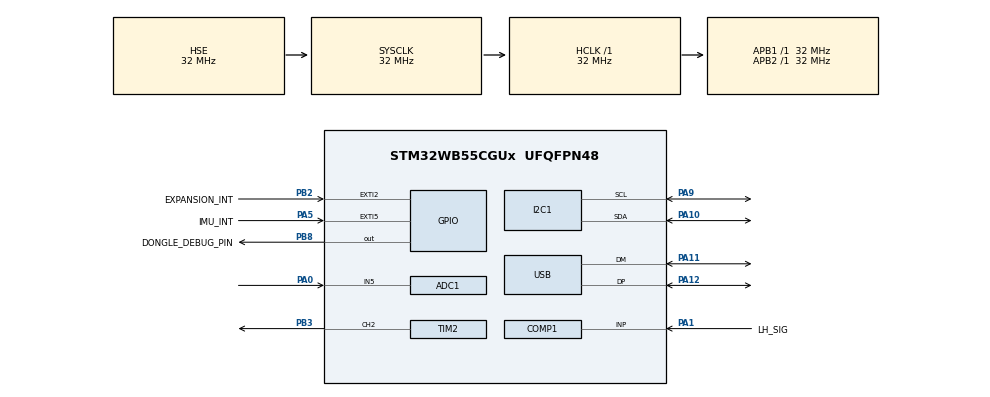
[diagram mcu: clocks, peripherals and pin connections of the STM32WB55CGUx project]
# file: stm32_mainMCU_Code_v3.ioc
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ADC1.Channel-0\#ChannelRegularConversion=ADC_CHANNEL_5
ADC1.ClockPrescaler=ADC_CLOCK_ASYNC_DIV32
ADC1.ContinuousConvMode=DISABLE
ADC1.DMAContinuousRequests=ENABLE
ADC1.EnableInjectedConversion=DISABLE
ADC1.ExternalTrigConv=ADC_EXTERNALTRIG_T2_TRGO
ADC1.NbrOfConversion=1
ADC1.NbrOfConversionFlag=1
ADC1.OffsetNumber-0\#ChannelRegularConversion=ADC_OFFSET_NONE
ADC1.Rank-0\#ChannelRegularConversion=1
ADC1.Resolution=ADC_RESOLUTION_8B
ADC1.SamplingTime-0\#ChannelRegularConversion=ADC_SAMPLETIME_247CYCLES_5
ADC1.master=1
COMP1.TriggerMode=COMP_TRIGGERMODE_IT_RISING_FALLING
Dma.ADC1.0.Direction=DMA_PERIPH_TO_MEMORY
Dma.ADC1.0.EventEnable=DISABLE
Dma.ADC1.0.Instance=DMA1_Channel1
Dma.ADC1.0.MemDataAlignment=DMA_MDATAALIGN_BYTE
Dma.ADC1.0.MemInc=DMA_MINC_ENABLE
Dma.ADC1.0.Mode=DMA_CIRCULAR
Dma.ADC1.0.PeriphDataAlignment=DMA_PDATAALIGN_BYTE
Dma.ADC1.0.PeriphInc=DMA_PINC_DISABLE
Dma.ADC1.0.Polarity=HAL_DMAMUX_REQ_GEN_RISING
Dma.ADC1.0.Priority=DMA_PRIORITY_LOW
Dma.ADC1.0.RequestNumber=1
Dma.ADC1.0.SignalID=NONE
Dma.ADC1.0.SyncEnable=DISABLE
Dma.ADC1.0.SyncPolarity=HAL_DMAMUX_SYNC_NO_EVENT
Dma.ADC1.0.SyncRequestNumber=1
Dma.ADC1.0.SyncSignalID=NONE
Dma.Request0=ADC1
FREERTOS.BinarySemaphores01=messageI2C_Lock,Dynamic,NULL;locNotify,Dynamic,NULL;locComplete,Dynamic,NULL;lightingLabDemoEnd,Dynamic,NULL
FREERTOS.Queues01=blinkMsgQueue,10,108,1,Dynamic,NULL,NULL;lightsSimpleQueue,3,4,1,Dynamic,NULL,NULL;togLoggingQueue,4,6,1,Dynamic,NULL,NULL;interProcessorMsgQueue,10,24,1,Dynamic,NULL,NULL;inertialSensingQueue,10,40,1,Dynamic,NULL,NULL;activitySampleQueue,10,16,1,Dynamic,NULL,NULL;rotationSampleQueue,3,24,1,Dynamic,NULL,NULL;pulseQueue,10,6,1,Dynamic,NULL,NULL;viveQueue,10,24,1,Dynamic,NULL,NULL;statusQueue,1,uint32_t,0,Dynamic,NULL,NULL;msgPasssingUSB_Queue,5,11,1,Dynamic,NULL,NULL
FREERTOS.Tasks01=defaultTask,24,512,DefaultTask,As weak,NULL,Dynamic,NULL,NULL;frontLightsTask,24,512,ThreadFrontLightsTask,As external,NULL,Dynamic,NULL,NULL;masterTask,24,512,MasterThreadTask,As external,NULL,Dynamic,NULL,NULL;inertialTask,24,1024,InertialSensingTask,As external,NULL,Dynamic,NULL,NULL;pulseTask,24,512,PulseHandlerTask,As external,NULL,Dynamic,NULL,NULL;interProcTask,24,512,InterProcessorTask,As external,NULL,Dynamic,NULL,NULL;blinkTask,24,512,BlinkTask,As external,NULL,Dynamic,NULL,NULL;msgPassingUSB_T,24,512,msgPassingUSB,As weak,NULL,Dynamic,NULL,NULL
FREERTOS.Timers01=viveTimer,get3D_location,osTimerPeriodic,As external,&viveStateVar,Dynamic,NULL;watchDogTimer,watchDogReset,osTimerPeriodic,Default,NULL,Dynamic,NULL
FREERTOS.configCHECK_FOR_STACK_OVERFLOW=1
FREERTOS.configGENERATE_RUN_TIME_STATS=1
FREERTOS.configMINIMAL_STACK_SIZE=512
FREERTOS.configQUEUE_REGISTRY_SIZE=12
FREERTOS.configRECORD_STACK_HIGH_ADDRESS=1
FREERTOS.configTOTAL_HEAP_SIZE=150000
FREERTOS.configUSE_MALLOC_FAILED_HOOK=1
FREERTOS.configUSE_TICKLESS_IDLE=2
FREERTOS.configUSE_TICK_HOOK=1
I2C1.I2C_Fall_Time=200
I2C1.I2C_Rise_Time=200
I2C1.Timing=0x00E27CAE
Mcu.Family=STM32WB
Mcu.Name=STM32WB55CGUx
Mcu.Package=UFQFPN48
NVIC.COMP_IRQn=true\:5\:0\:false\:false\:true\:true\:false\:true
NVIC.DMA1_Channel1_IRQn=true\:5\:0\:false\:false\:true\:true\:false\:true
NVIC.EXTI2_IRQn=true\:5\:0\:false\:false\:true\:true\:true\:true
NVIC.EXTI9_5_IRQn=true\:5\:0\:false\:false\:true\:true\:true\:true
NVIC.HSEM_IRQn=true\:5\:0\:false\:false\:true\:true\:false\:true
NVIC.I2C1_EV_IRQn=true\:5\:0\:false\:false\:true\:true\:true\:true
NVIC.PriorityGroup=NVIC_PRIORITYGROUP_4
NVIC.TIM1_UP_TIM16_IRQn=true\:0\:0\:false\:false\:true\:false\:false\:true
NVIC.TIM2_IRQn=true\:5\:0\:false\:false\:true\:true\:true\:true
NVIC.TimeBase=TIM1_UP_TIM16_IRQn
NVIC.TimeBaseIP=TIM1
NVIC.USB_LP_IRQn=true\:5\:0\:false\:false\:true\:true\:false\:true
OSC_IN.Mode=HSE-External-Oscillator
OSC_IN.Signal=RCC_OSC_IN
OSC_OUT.Mode=HSE-External-Oscillator
OSC_OUT.Signal=RCC_OSC_OUT
PA0.Signal=ADCx_IN5
PA1.GPIO_Label=LH_SIG
PA1.Mode=INP
PA1.Signal=COMP1_INP
PA10.GPIO_PuPdOD=GPIO_NOPULL
PA10.Mode=I2C
PA10.Signal=I2C1_SDA
PA11.Mode=Device
PA11.Signal=USB_DM
PA12.Mode=Device
PA12.Signal=USB_DP
PA13.Mode=Serial_Wire
PA13.Signal=SYS_JTMS-SWDIO
PA14.Mode=Serial_Wire
PA14.Signal=SYS_JTCK-SWCLK
PA5.GPIO_Label=IMU_INT
PA5.GPIO_ModeDefaultEXTI=GPIO_MODE_IT_FALLING
PA5.GPIO_PuPd=GPIO_PULLUP
PA5.Signal=GPXTI5
PA9.GPIO_PuPdOD=GPIO_NOPULL
PA9.Mode=I2C
PA9.Signal=I2C1_SCL
PB2.GPIO_Label=EXPANSION_INT
PB2.GPIO_PuPd=GPIO_NOPULL
PB2.Signal=GPXTI2
PB3.Signal=S_TIM2_CH2
PB8.GPIO_Label=DONGLE_DEBUG_PIN
PB8.Signal=GPIO_Output
PC14-OSC32_IN.Mode=LSE-External-Oscillator
PC14-OSC32_IN.Signal=RCC_OSC32_IN
PC15-OSC32_OUT.Mode=LSE-External-Oscillator
PC15-OSC32_OUT.Signal=RCC_OSC32_OUT
ProjectManager.HeapSize=0x200
ProjectManager.StackSize=0x400
ProjectManager.TargetToolchain=STM32CubeIDE
RCC.ADCFreq_Value=48000000
RCC.AHBFreq_Value=32000000
RCC.APB1Freq_Value=32000000
RCC.APB1TimFreq_Value=32000000
RCC.APB2Freq_Value=32000000
RCC.APB2TimFreq_Value=32000000
RCC.APB3Freq_Value=16000000
RCC.CortexFreq_Value=32000000
RCC.HCLKFreq_Value=32000000
RCC.HSE_VALUE=32000000
RCC.HSI48_VALUE=48000000
RCC.HSI_VALUE=16000000
RCC.MSIClockRange=RCC_MSIRANGE_10
RCC.PLLM=RCC_PLLM_DIV2
RCC.PLLSAI1N=6
RCC.PLLSourceVirtual=RCC_PLLSOURCE_HSE
RCC.RTCClockSelection=RCC_RTCCLKSOURCE_LSE
RCC.SYSCLKFreq_VALUE=32000000
RCC.SYSCLKSource=RCC_SYSCLKSOURCE_HSE
RCC.USBFreq_Value=48000000
RCC.VCOOutputFreq_Value=128000000
RF1.Mode=RF1_Activate
RF1.Signal=RF_RF1
SH.ADCx_IN5.0=ADC1_IN5,IN5-Single-Ended
SH.S_TIM2_CH2.0=TIM2_CH2,PWM Generation2 CH2
STM32_WPAN.APPLI_CONFIG_LOG_LEVEL=LOG_LEVEL_NONE
STM32_WPAN.CFG_DEBUGGER_SUPPORTED=0
STM32_WPAN.CFG_FAST_CONN_ADV_INTERVAL_MAX_HEXA=0x0
STM32_WPAN.CFG_FAST_CONN_ADV_INTERVAL_MIN_HEXA=0x0
STM32_WPAN.CFG_HW_USART1_ENABLED=0
STM32_WPAN.CFG_LP_CONN_ADV_INTERVAL_MAX_HEXA=0x0
STM32_WPAN.CFG_LP_CONN_ADV_INTERVAL_MIN_HEXA=0x0
STM32_WPAN.CHANNEL=23
STM32_WPAN.LOCAL_NAME_FORMATTED=,'0'
STM32_WPAN.PANID=1234
STM32_WPAN.THREAD_APPLICATION=FTD
TIM16.Period=65535
TIM16.Prescaler=31
TIM2.AutoReloadPreload=TIM_AUTORELOAD_PRELOAD_ENABLE
TIM2.Channel-Output\ Compare4\ No\ Output=TIM_CHANNEL_4
TIM2.Channel-PWM\ Generation2\ CH2=TIM_CHANNEL_2
TIM2.Channel-PWM\ Generation3\ CH3=TIM_CHANNEL_3
TIM2.CounterMode=TIM_COUNTERMODE_CENTERALIGNED1
TIM2.OC2Preload_PWM=DISABLE
TIM2.OC4Preload=DISABLE
TIM2.OCMode_PWM-PWM\ Generation2\ CH2=TIM_OCMODE_PWM1
TIM2.Period=10
TIM2.Prescaler=1599
TIM2.Pulse-PWM\ Generation2\ CH2=5
TIM2.TIM_MasterOutputTrigger=TIM_TRGO_UPDATE
TIM2.TIM_MasterSlaveMode=TIM_MASTERSLAVEMODE_DISABLE
USB_DEVICE.CLASS_NAME_FS=CDC
USB_DEVICE.VirtualMode=Cdc
USB_DEVICE.VirtualModeFS=Cdc_FS
VP_COMP1_VS_VREFINT12.Mode=VREFINT_12
VP_FREERTOS_VS_CMSIS_V2.Mode=CMSIS_V2
VP_HSEM_VS_HSEM.Mode=HSEM_Activate
VP_RTC_VS_RTC_Activate.Mode=RTC_Enabled
VP_STM32_WPAN_VS_THREAD.Mode=STM32_WPAN_Enabled
VP_SYS_VS_tim1.Mode=TIM1
VP_TIM16_VS_ClockSourceINT.Mode=Enable_Timer
VP_TIM2_VS_ClockSourceINT.Mode=Internal
VP_TIM2_VS_no_output4.Mode=Output Compare4 No Output
VP_TINY_LPM_VS_TINY_LPM.Mode=TINY_LPM_Enabled
VP_USB_DEVICE_VS_USB_DEVICE_CDC_FS.Mode=CDC_FS
board=custom

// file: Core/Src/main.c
/* USER CODE BEGIN Header */
/**
  ******************************************************************************
  * @file           : main.c
  * @brief          : Main program body
  ******************************************************************************
  * @attention
  *
  * <h2><center>&copy; Copyright (c) 2019 STMicroelectronics.
  * All rights reserved.</center></h2>
  *
  * This software component is licensed by ST under Ultimate Liberty license
  * SLA0044, the "License"; You may not use this file except in compliance with
  * the License. You may obtain a copy of the License at:
  *                             www.st.com/SLA0044
  *
  ******************************************************************************
  */
/* USER CODE END Header */
#include "main.h"
#include "cmsis_os.h"
#include "adc.h"
#include "comp.h"
#include "dma.h"
#include "i2c.h"
#include "rf.h"
#include "rtc.h"
#include "app_entry.h"
#include "app_common.h"
#include "tim.h"
#include "usb_device.h"
#include "gpio.h"

/* USER CODE BEGIN Includes */
#include "input.h"
#include "pulse_processor.h"
#include "circular_buffer.h"
#include "tsc.h"
#include "touch_detector.h"
#include "touchsensing.h"
#include "captivate_config.h"
#include "usbd_cdc.h"
#include "usb_device.h"
/* USER CODE END Includes */

void SystemClock_Config(void);
void MX_FREERTOS_Init(void);

int main(void)
{

  /* MCU Configuration--------------------------------------------------------*/

  /* Reset of all peripherals, Initializes the Flash interface and the Systick. */
  HAL_Init();

  /* Configure the system clock */
  SystemClock_Config();

  /* Initialize all configured peripherals */
  MX_GPIO_Init();
  MX_DMA_Init();
  MX_ADC1_Init();
  MX_RTC_Init();
  MX_TIM2_Init();
  MX_RF_Init();
  MX_I2C1_Init();
  MX_COMP1_Init();
  MX_TIM16_Init();
  MX_USB_Device_Init();
  /* USER CODE BEGIN 2 */
  MX_TSC_Init();

#ifndef BORDER_ROUTER_NODE
  USBD_Stop(&hUsbDeviceFS);
#endif

//  HAL_IWDG_Refresh(&hiwdg);

  /* USER CODE END 2 */

  /* Init scheduler */
  osKernelInitialize();  /* Call init function for freertos objects (in freertos.c) */
  MX_FREERTOS_Init();
  /* Start scheduler */
  osKernelStart();

  /* We should never get here as control is now taken by the scheduler */
  /* Infinite loop */
  /* USER CODE BEGIN WHILE */
//	// start  PWM channel for blink LED
//	HAL_TIM_PWM_Start(&htim2, TIM_CHANNEL_2);
//
//	// start timer
//	HAL_TIM_Base_Start(&htim2);

  while (1)
  {

    /* USER CODE END WHILE */

  }
}

void SystemClock_Config(void)
{
  RCC_OscInitTypeDef RCC_OscInitStruct = {0};
  RCC_ClkInitTypeDef RCC_ClkInitStruct = {0};
  RCC_PeriphCLKInitTypeDef PeriphClkInitStruct = {0};

  /** Macro to configure the PLL multiplication factor
  */
  __HAL_RCC_PLL_PLLM_CONFIG(RCC_PLLM_DIV2);
  /** Macro to configure the PLL clock source
  */
  __HAL_RCC_PLL_PLLSOURCE_CONFIG(RCC_PLLSOURCE_HSE);
  /** Configure LSE Drive Capability
  */
  HAL_PWR_EnableBkUpAccess();
  __HAL_RCC_LSEDRIVE_CONFIG(RCC_LSEDRIVE_LOW);
  /** Configure the main internal regulator output voltage
  */
  __HAL_PWR_VOLTAGESCALING_CONFIG(PWR_REGULATOR_VOLTAGE_SCALE1);
  /** Initializes the RCC Oscillators according to the specified parameters
  * in the RCC_OscInitTypeDef structure.
  */
  RCC_OscInitStruct.OscillatorType = RCC_OSCILLATORTYPE_HSI|RCC_OSCILLATORTYPE_HSE
                              |RCC_OSCILLATORTYPE_LSE;
  RCC_OscInitStruct.HSEState = RCC_HSE_ON;
  RCC_OscInitStruct.LSEState = RCC_LSE_ON;
  RCC_OscInitStruct.HSIState = RCC_HSI_ON;
  RCC_OscInitStruct.HSICalibrationValue = RCC_HSICALIBRATION_DEFAULT;
  RCC_OscInitStruct.PLL.PLLState = RCC_PLL_NONE;
  if (HAL_RCC_OscConfig(&RCC_OscInitStruct) != HAL_OK)
  {
    Error_Handler();
  }
  /** Configure the SYSCLKSource, HCLK, PCLK1 and PCLK2 clocks dividers
  */
  RCC_ClkInitStruct.ClockType = RCC_CLOCKTYPE_HCLK4|RCC_CLOCKTYPE_HCLK2
                              |RCC_CLOCKTYPE_HCLK|RCC_CLOCKTYPE_SYSCLK
                              |RCC_CLOCKTYPE_PCLK1|RCC_CLOCKTYPE_PCLK2;
  RCC_ClkInitStruct.SYSCLKSource = RCC_SYSCLKSOURCE_HSE;
  RCC_ClkInitStruct.AHBCLKDivider = RCC_SYSCLK_DIV1;
  RCC_ClkInitStruct.APB1CLKDivider = RCC_HCLK_DIV1;
  RCC_ClkInitStruct.APB2CLKDivider = RCC_HCLK_DIV1;
  RCC_ClkInitStruct.AHBCLK2Divider = RCC_SYSCLK_DIV1;
  RCC_ClkInitStruct.AHBCLK4Divider = RCC_SYSCLK_DIV1;

  if (HAL_RCC_ClockConfig(&RCC_ClkInitStruct, FLASH_LATENCY_1) != HAL_OK)
  {
    Error_Handler();
  }
  /** Initializes the peripherals clocks
  */
  PeriphClkInitStruct.PeriphClockSelection = RCC_PERIPHCLK_SMPS|RCC_PERIPHCLK_RFWAKEUP
                              |RCC_PERIPHCLK_RTC|RCC_PERIPHCLK_I2C1
                              |RCC_PERIPHCLK_USB|RCC_PERIPHCLK_ADC;
  PeriphClkInitStruct.PLLSAI1.PLLN = 6;
  PeriphClkInitStruct.PLLSAI1.PLLP = RCC_PLLP_DIV2;
  PeriphClkInitStruct.PLLSAI1.PLLQ = RCC_PLLQ_DIV2;
  PeriphClkInitStruct.PLLSAI1.PLLR = RCC_PLLR_DIV2;
  PeriphClkInitStruct.PLLSAI1.PLLSAI1ClockOut = RCC_PLLSAI1_USBCLK|RCC_PLLSAI1_ADCCLK;
  PeriphClkInitStruct.I2c1ClockSelection = RCC_I2C1CLKSOURCE_PCLK1;
  PeriphClkInitStruct.UsbClockSelection = RCC_USBCLKSOURCE_PLLSAI1;
  PeriphClkInitStruct.AdcClockSelection = RCC_ADCCLKSOURCE_PLLSAI1;
  PeriphClkInitStruct.RTCClockSelection = RCC_RTCCLKSOURCE_LSE;
  PeriphClkInitStruct.RFWakeUpClockSelection = RCC_RFWKPCLKSOURCE_HSE_DIV1024;
  PeriphClkInitStruct.SmpsClockSelection = RCC_SMPSCLKSOURCE_HSI;
  PeriphClkInitStruct.SmpsDivSelection = RCC_SMPSCLKDIV_RANGE1;
  if (HAL_RCCEx_PeriphCLKConfig(&PeriphClkInitStruct) != HAL_OK)
  {
    Error_Handler();
  }
}

 /**
  * @brief  Period elapsed callback in non blocking mode
  * @note   This function is called  when TIM1 interrupt took place, inside
  * HAL_TIM_IRQHandler(). It makes a direct call to HAL_IncTick() to increment
  * a global variable "uwTick" used as application time base.
  * @param  htim : TIM handle
  * @retval None
  */
void HAL_TIM_PeriodElapsedCallback(TIM_HandleTypeDef *htim)
{
  if (htim->Instance == TIM1) {
    HAL_IncTick();
  }
  /* USER CODE BEGIN Callback 1 */
#ifdef DONGLE_CODE
//  if (htim->Instance == TIM2) {
////	  HAL_GPIO_WritePin(DONGLE_DEBUG_PIN_GPIO_Port, DONGLE_DEBUG_PIN_Pin, GPIO_PIN_SET);
//	  HAL_GPIO_TogglePin(DONGLE_DEBUG_PIN_GPIO_Port, DONGLE_DEBUG_PIN_Pin);
//  }
#endif

//void HAL_TIM_PeriodElapsedHalfCpltCallback(TIM_HandleTypeDef *htim){
//#ifdef DONGLE_CODE
// if (htim->Instance == TIM2) {
//	 HAL_GPIO_WritePin(DONGLE_DEBUG_PIN_GPIO_Port, DONGLE_DEBUG_PIN_Pin, GPIO_PIN_RESET);
//  }
//#endif
//}
  /* USER CODE END Callback 1 */
}

void Error_Handler(void)
{
}

/************************ (C) COPYRIGHT STMicroelectronics *****END OF FILE****/

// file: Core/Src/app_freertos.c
/* USER CODE BEGIN Header */
/**
  ******************************************************************************
  * File Name          : app_freertos.c
  * Description        : Code for freertos applications
  ******************************************************************************
  * @attention
  *
  * <h2><center>&copy; Copyright (c) 2019 STMicroelectronics.
  * All rights reserved.</center></h2>
  *
  * This software component is licensed by ST under Ultimate Liberty license
  * SLA0044, the "License"; You may not use this file except in compliance with
  * the License. You may obtain a copy of the License at:
  *                             www.st.com/SLA0044
  *
  ******************************************************************************
  */
/* USER CODE END Header */

#include "FreeRTOS.h"
#include "task.h"
#include "main.h"
#include "cmsis_os.h"

/* USER CODE BEGIN Includes */
#include "adc.h"
#include "tim.h"
#include "lp5523.h"
#include "blink.h"
#include "app_entry.h"
#include "master_thread.h"
#include "system_settings.h"
#include "inter_processor_comms.h"
#include "inertial_sensing.h"
#include "input.h"
#include "pulse_processor.h"
#include "messages.h"
#include "captivate_config.h"
#include "input.h"
//#include "iwdg.h"
#include "usbd_cdc_if.h"
#include "coap.h"
#include "app_thread.h"
/* USER CODE END Includes */

/* USER CODE BEGIN Variables */

//osThreadId_t blinkTaskHandle;
////osMessageQueueId_t	blinkMsgQueueHandle;
//
//osThreadId_t 		frontLightsTaskHandle;
//osMessageQueueId_t	lightsSimpleQueueHandle;
//
//osMessageQueueId_t	togLoggingQueueHandle;
//osThreadId_t masterTaskHandle;
//
//osSemaphoreId_t messageI2C_LockSem;
//
//osThreadId_t inertialTaskHandle;
//osMessageQueueId_t inertialSensingQueueHandle;
//
//osMessageQueueId_t activitySampleQueueHandle;
//osMessageQueueId_t rotationSampleQueueHandle;
//
//osThreadId_t interProcTaskHandle;
//osMessageQueueId_t	 interProcessorMsgQueueHandle;
//
//osThreadId_t pulseTaskHandle;

//uint8_t temp[2048] = {0};
/* USER CODE END Variables */
/* Definitions for defaultTask */
osThreadId_t defaultTaskHandle;
const osThreadAttr_t defaultTask_attributes = {
  .name = "defaultTask",
  .priority = (osPriority_t) osPriorityNormal,
  .stack_size = 512 * 4
};
/* Definitions for frontLightsTask */
osThreadId_t frontLightsTaskHandle;
const osThreadAttr_t frontLightsTask_attributes = {
  .name = "frontLightsTask",
  .priority = (osPriority_t) osPriorityNormal,
  .stack_size = 512 * 4
};
/* Definitions for masterTask */
osThreadId_t masterTaskHandle;
const osThreadAttr_t masterTask_attributes = {
  .name = "masterTask",
  .priority = (osPriority_t) osPriorityNormal,
  .stack_size = 512 * 4
};
/* Definitions for inertialTask */
osThreadId_t inertialTaskHandle;
const osThreadAttr_t inertialTask_attributes = {
  .name = "inertialTask",
  .priority = (osPriority_t) osPriorityNormal,
  .stack_size = 1024 * 4
};
/* Definitions for pulseTask */
osThreadId_t pulseTaskHandle;
const osThreadAttr_t pulseTask_attributes = {
  .name = "pulseTask",
  .priority = (osPriority_t) osPriorityNormal,
  .stack_size = 512 * 4
};
/* Definitions for interProcTask */
osThreadId_t interProcTaskHandle;
const osThreadAttr_t interProcTask_attributes = {
  .name = "interProcTask",
  .priority = (osPriority_t) osPriorityNormal,
  .stack_size = 512 * 4
};
/* Definitions for blinkTask */
osThreadId_t blinkTaskHandle;
const osThreadAttr_t blinkTask_attributes = {
  .name = "blinkTask",
  .priority = (osPriority_t) osPriorityNormal,
  .stack_size = 512 * 4
};
/* Definitions for msgPassingUSB_T */
osThreadId_t msgPassingUSB_THandle;
const osThreadAttr_t msgPassingUSB_T_attributes = {
  .name = "msgPassingUSB_T",
  .priority = (osPriority_t) osPriorityNormal,
  .stack_size = 512 * 4
};
/* Definitions for blinkMsgQueue */
osMessageQueueId_t blinkMsgQueueHandle;
const osMessageQueueAttr_t blinkMsgQueue_attributes = {
  .name = "blinkMsgQueue"
};
/* Definitions for lightsSimpleQueue */
osMessageQueueId_t lightsSimpleQueueHandle;
const osMessageQueueAttr_t lightsSimpleQueue_attributes = {
  .name = "lightsSimpleQueue"
};
/* Definitions for togLoggingQueue */
osMessageQueueId_t togLoggingQueueHandle;
const osMessageQueueAttr_t togLoggingQueue_attributes = {
  .name = "togLoggingQueue"
};
/* Definitions for interProcessorMsgQueue */
osMessageQueueId_t interProcessorMsgQueueHandle;
const osMessageQueueAttr_t interProcessorMsgQueue_attributes = {
  .name = "interProcessorMsgQueue"
};
/* Definitions for inertialSensingQueue */
osMessageQueueId_t inertialSensingQueueHandle;
const osMessageQueueAttr_t inertialSensingQueue_attributes = {
  .name = "inertialSensingQueue"
};
/* Definitions for activitySampleQueue */
osMessageQueueId_t activitySampleQueueHandle;
const osMessageQueueAttr_t activitySampleQueue_attributes = {
  .name = "activitySampleQueue"
};
/* Definitions for rotationSampleQueue */
osMessageQueueId_t rotationSampleQueueHandle;
const osMessageQueueAttr_t rotationSampleQueue_attributes = {
  .name = "rotationSampleQueue"
};
/* Definitions for pulseQueue */
osMessageQueueId_t pulseQueueHandle;
const osMessageQueueAttr_t pulseQueue_attributes = {
  .name = "pulseQueue"
};
/* Definitions for viveQueue */
osMessageQueueId_t viveQueueHandle;
const osMessageQueueAttr_t viveQueue_attributes = {
  .name = "viveQueue"
};
/* Definitions for statusQueue */
osMessageQueueId_t statusQueueHandle;
const osMessageQueueAttr_t statusQueue_attributes = {
  .name = "statusQueue"
};
/* Definitions for msgPasssingUSB_Queue */
osMessageQueueId_t msgPasssingUSB_QueueHandle;
const osMessageQueueAttr_t msgPasssingUSB_Queue_attributes = {
  .name = "msgPasssingUSB_Queue"
};
/* Definitions for viveTimer */
osTimerId_t viveTimerHandle;
const osTimerAttr_t viveTimer_attributes = {
  .name = "viveTimer"
};
/* Definitions for watchDogTimer */
osTimerId_t watchDogTimerHandle;
const osTimerAttr_t watchDogTimer_attributes = {
  .name = "watchDogTimer"
};
/* Definitions for messageI2C_Lock */
osSemaphoreId_t messageI2C_LockHandle;
const osSemaphoreAttr_t messageI2C_Lock_attributes = {
  .name = "messageI2C_Lock"
};
/* Definitions for locNotify */
osSemaphoreId_t locNotifyHandle;
const osSemaphoreAttr_t locNotify_attributes = {
  .name = "locNotify"
};
/* Definitions for locComplete */
osSemaphoreId_t locCompleteHandle;
const osSemaphoreAttr_t locComplete_attributes = {
  .name = "locComplete"
};
/* Definitions for lightingLabDemoEnd */
osSemaphoreId_t lightingLabDemoEndHandle;
const osSemaphoreAttr_t lightingLabDemoEnd_attributes = {
  .name = "lightingLabDemoEnd"
};

void DefaultTask(void *argument);
extern void ThreadFrontLightsTask(void *argument);
extern void MasterThreadTask(void *argument);
extern void InertialSensingTask(void *argument);
extern void PulseHandlerTask(void *argument);
extern void InterProcessorTask(void *argument);
extern void BlinkTask(void *argument);
void msgPassingUSB(void *argument);
extern void get3D_location(void *argument);
void watchDogReset(void *argument);

void MX_FREERTOS_Init(void); /* (MISRA C 2004 rule 8.1) */

/* Hook prototypes */
void configureTimerForRunTimeStats(void);
unsigned long getRunTimeCounterValue(void);
void vApplicationTickHook(void);
void vApplicationStackOverflowHook(xTaskHandle xTask, signed char *pcTaskName);
void vApplicationMallocFailedHook(void);

/* USER CODE BEGIN 1 */
/* Functions needed when configGENERATE_RUN_TIME_STATS is on */
volatile unsigned long ulHighFrequencyTimerTicks;
__weak void configureTimerForRunTimeStats(void)
{

}

__weak unsigned long getRunTimeCounterValue(void)
{
return HAL_GetTick();
}
/* USER CODE END 1 */

/* USER CODE BEGIN 3 */
__weak void vApplicationTickHook( void )
{
   /* This function will be called by each tick interrupt if
   configUSE_TICK_HOOK is set to 1 in FreeRTOSConfig.h. User code can be
   added here, but the tick hook is called from an interrupt context, so
   code must not attempt to block, and only the interrupt safe FreeRTOS API
   functions can be used (those that end in FromISR()). */
}
/* USER CODE END 3 */

/* USER CODE BEGIN 4 */
volatile uint8_t test=0;
__weak void vApplicationStackOverflowHook(xTaskHandle xTask, signed char *pcTaskName)
{

   /* Run time stack overflow checking is performed if
   configCHECK_FOR_STACK_OVERFLOW is defined to 1 or 2. This hook function is
   called if a stack overflow is detected. */
	test += 1;
}
/* USER CODE END 4 */

/* USER CODE BEGIN 5 */
__weak void vApplicationMallocFailedHook(void)
{
   /* vApplicationMallocFailedHook() will only be called if
   configUSE_MALLOC_FAILED_HOOK is set to 1 in FreeRTOSConfig.h. It is a hook
   function that will get called if a call to pvPortMalloc() fails.
   pvPortMalloc() is called internally by the kernel whenever a task, queue,
   timer or semaphore is created. It is also called by various parts of the
   demo application. If heap_1.c or heap_2.c are used, then the size of the
   heap available to pvPortMalloc() is defined by configTOTAL_HEAP_SIZE in
   FreeRTOSConfig.h, and the xPortGetFreeHeapSize() API function can be used
   to query the size of free heap space that remains (although it does not
   provide information on how the remaining heap might be fragmented). */
	test += 1;

}
/* USER CODE END 5 */

/* USER CODE BEGIN VPORT_SUPPORT_TICKS_AND_SLEEP */
__weak void vPortSuppressTicksAndSleep( TickType_t xExpectedIdleTime )
{
  // Generated when configUSE_TICKLESS_IDLE == 2.
  // Function called in tasks.c (in portTASK_FUNCTION).
  // TO BE COMPLETED or TO BE REPLACED by a user one, overriding that weak one.
}
/* USER CODE END VPORT_SUPPORT_TICKS_AND_SLEEP */

void MX_FREERTOS_Init(void) {

  /* Create the semaphores(s) */
  /* creation of messageI2C_Lock */
  messageI2C_LockHandle = osSemaphoreNew(1, 1, &messageI2C_Lock_attributes);

  /* creation of locNotify */
  locNotifyHandle = osSemaphoreNew(1, 1, &locNotify_attributes);

  /* creation of locComplete */
  locCompleteHandle = osSemaphoreNew(1, 1, &locComplete_attributes);

  /* creation of lightingLabDemoEnd */
  lightingLabDemoEndHandle = osSemaphoreNew(1, 1, &lightingLabDemoEnd_attributes);

  /* USER CODE BEGIN RTOS_SEMAPHORES */
//  /* add semaphores, ... */
  /* USER CODE END RTOS_SEMAPHORES */

  /* Create the timer(s) */
  /* creation of viveTimer */
  viveTimerHandle = osTimerNew(get3D_location, osTimerPeriodic, (void*) &viveStateVar, &viveTimer_attributes);

  /* creation of watchDogTimer */
  watchDogTimerHandle = osTimerNew(watchDogReset, osTimerPeriodic, NULL, &watchDogTimer_attributes);

  /* USER CODE BEGIN RTOS_TIMERS */
//  /* start timers, add new ones, ... */
  osTimerStart(watchDogTimerHandle, WATCHDOG_PERIOD);

  /* USER CODE END RTOS_TIMERS */

  /* Create the queue(s) */
  /* creation of blinkMsgQueue */
  blinkMsgQueueHandle = osMessageQueueNew (10, 108, &blinkMsgQueue_attributes);

  /* creation of lightsSimpleQueue */
  lightsSimpleQueueHandle = osMessageQueueNew (3, 4, &lightsSimpleQueue_attributes);

  /* creation of togLoggingQueue */
  togLoggingQueueHandle = osMessageQueueNew (4, 6, &togLoggingQueue_attributes);

  /* creation of interProcessorMsgQueue */
  interProcessorMsgQueueHandle = osMessageQueueNew (10, 24, &interProcessorMsgQueue_attributes);

  /* creation of inertialSensingQueue */
  inertialSensingQueueHandle = osMessageQueueNew (10, 40, &inertialSensingQueue_attributes);

  /* creation of activitySampleQueue */
  activitySampleQueueHandle = osMessageQueueNew (10, 16, &activitySampleQueue_attributes);

  /* creation of rotationSampleQueue */
  rotationSampleQueueHandle = osMessageQueueNew (3, 24, &rotationSampleQueue_attributes);

  /* creation of pulseQueue */
  pulseQueueHandle = osMessageQueueNew (10, 6, &pulseQueue_attributes);

  /* creation of viveQueue */
  viveQueueHandle = osMessageQueueNew (10, 24, &viveQueue_attributes);

  /* creation of statusQueue */
  statusQueueHandle = osMessageQueueNew (1, sizeof(uint32_t), &statusQueue_attributes);

  /* creation of msgPasssingUSB_Queue */
  msgPasssingUSB_QueueHandle = osMessageQueueNew (5, 11, &msgPasssingUSB_Queue_attributes);

  /* Create the thread(s) */
  /* creation of defaultTask */
  defaultTaskHandle = osThreadNew(DefaultTask, NULL, &defaultTask_attributes);

  /* creation of frontLightsTask */
  frontLightsTaskHandle = osThreadNew(ThreadFrontLightsTask, NULL, &frontLightsTask_attributes);

  /* creation of masterTask */
  masterTaskHandle = osThreadNew(MasterThreadTask, NULL, &masterTask_attributes);

  /* creation of inertialTask */
  inertialTaskHandle = osThreadNew(InertialSensingTask, NULL, &inertialTask_attributes);

  /* creation of pulseTask */
  pulseTaskHandle = osThreadNew(PulseHandlerTask, NULL, &pulseTask_attributes);

  /* creation of interProcTask */
  interProcTaskHandle = osThreadNew(InterProcessorTask, NULL, &interProcTask_attributes);

  /* creation of blinkTask */
  blinkTaskHandle = osThreadNew(BlinkTask, NULL, &blinkTask_attributes);

  /* creation of msgPassingUSB_T */
  msgPassingUSB_THandle = osThreadNew(msgPassingUSB, NULL, &msgPassingUSB_T_attributes);

  /* USER CODE BEGIN RTOS_THREADS */

  // ensure binary notification semaphores are initially empty
  osSemaphoreAcquire(locNotifyHandle, 0);
  osSemaphoreAcquire(locCompleteHandle, 0);

   /* add threads, ... */

	/* Init code for STM32_WPAN */
	APPE_Init();

  /* USER CODE END RTOS_THREADS */

}

__weak void DefaultTask(void *argument)
{
  for(;;)
  {
    osDelay(1);
  }
}

__weak void msgPassingUSB(void *argument)
{
  /* USER CODE BEGIN msgPassingUSB */
	struct USB_msgPass receivedPacket;
  /* Infinite loop */
  for(;;)
  {
    while(1){
    	osMessageQueueGet(msgPasssingUSB_QueueHandle, &receivedPacket, 0U, osWaitForever);

    	if(receivedPacket.len == 6){
//    		  logReceivedMessage.status = Buf[0] - '0';
//    		  logReceivedMessage.logStatus = Buf[1] - '0';
//    		  logReceivedMessage.blinkEnabled = Buf[2] - '0';
//    		  logReceivedMessage.tempEnabled = Buf[3] - '0';
//    		  logReceivedMessage.intertialEnabled = Buf[4] - '0';
//    		  logReceivedMessage.positionEnabled  = Buf[5] - '0';

    		  APP_THREAD_SendCoapMsg(receivedPacket.buf, 6, &multicastAddr, "togLog", NO_ACK, OT_COAP_CODE_PUT, 1U);
    	  }
    	  else if(receivedPacket.len == 1){
//    		  lightsSimpleReceivedMessage = Buf[0] - '0';

    		  APP_THREAD_SendCoapMsg(receivedPacket.buf, 4, &multicastAddr, "lightS", NO_ACK, OT_COAP_CODE_PUT, 1U);
    	  }

    }
  }
  /* USER CODE END msgPassingUSB */
}

/* watchDogReset function */
void watchDogReset(void *argument)
{
  /* USER CODE BEGIN watchDogReset */
//	 HAL_IWDG_Refresh(&hiwdg);

  /* USER CODE END watchDogReset */
}

/* USER CODE BEGIN Application */
//void startSensorThreads(void){
//	/* creation of messageI2C_Lock */
//	messageI2C_LockHandle = osSemaphoreNew(1, 1, &messageI2C_Lock_attributes);
//
//	/* creation of blinkMsgQueue */
//	blinkMsgQueueHandle = osMessageQueueNew (10, 108, &blinkMsgQueue_attributes);
//
//	/* creation of lightsSimpleQueue */
//	lightsSimpleQueueHandle = osMessageQueueNew (3, 4, &lightsSimpleQueue_attributes);
//
//	/* creation of togLoggingQueue */
//	togLoggingQueueHandle = osMessageQueueNew (4, 6, &togLoggingQueue_attributes);
//
//	/* creation of interProcessorMsgQueue */
//	interProcessorMsgQueueHandle = osMessageQueueNew (10, 24, &interProcessorMsgQueue_attributes);
//
//	/* creation of inertialSensingQueue */
//	inertialSensingQueueHandle = osMessageQueueNew (10, 40, &inertialSensingQueue_attributes);
//
//	/* creation of activitySampleQueue */
//	activitySampleQueueHandle = osMessageQueueNew (10, 16, &activitySampleQueue_attributes);
//
//	/* creation of rotationSampleQueue */
//	rotationSampleQueueHandle = osMessageQueueNew (3, 24, &rotationSampleQueue_attributes);
//
//	/* creation of pulseQueue */
//	pulseQueueHandle = osMessageQueueNew (10, 6, &pulseQueue_attributes);
//
//	/* creation of viveQueue */
//	viveQueueHandle = osMessageQueueNew (10, 24, &viveQueue_attributes);
//
//	/* creation of inertialTask */
////	inertialTaskHandle = osThreadNew(InertialSensingTask, NULL, &inertialTask_attributes);
////
////	/* creation of pulseTask */
////	pulseTaskHandle = osThreadNew(PulseHandlerTask, NULL, &pulseTask_attributes);
////
////	/* creation of interProcTask */
////	interProcTaskHandle = osThreadNew(InterProcessorTask, NULL, &interProcTask_attributes);
//
//	/* creation of blinkTask */
////	blinkTaskHandle = osThreadNew(BlinkTask, NULL, &blinkTask_attributes);
//
////	/* creation of masterTask */
////	masterTaskHandle = osThreadNew(MasterThreadTask, NULL, &masterTask_attributes);
//
//	/* creation of frontLightsTask */
////	frontLightsTaskHandle = osThreadNew(ThreadFrontLightsTask, NULL, &frontLightsTask_attributes);
//}
/* USER CODE END Application */

/************************ (C) COPYRIGHT STMicroelectronics *****END OF FILE****/
